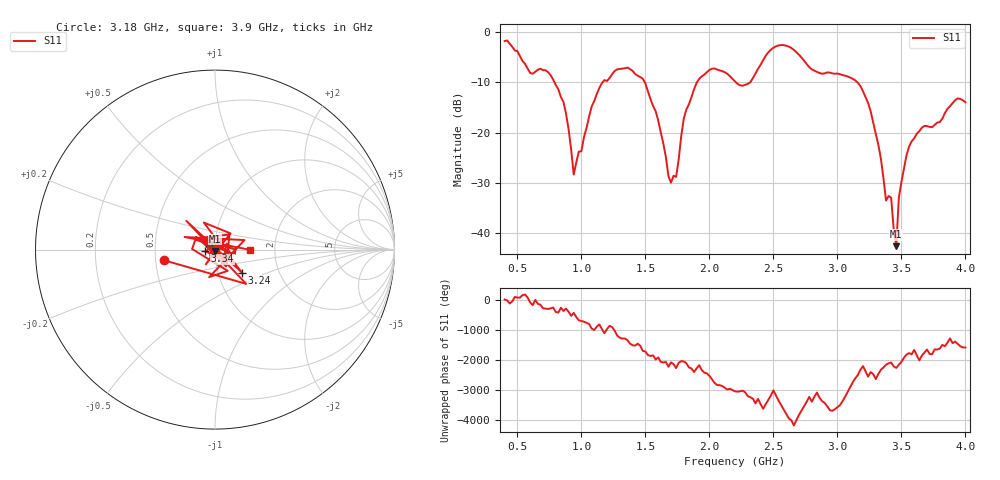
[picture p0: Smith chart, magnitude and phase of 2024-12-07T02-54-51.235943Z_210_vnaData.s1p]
!Created with skrf (http://scikit-rf.org).
# Hz S RI R 50.0
!freq ReS11 ImS11
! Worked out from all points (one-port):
!   181 points, 400 MHz to 4 GHz, reference 50 ohm
!   lowest |S11| = -42.6 dB at 3.46 GHz (marker M1), VSWR 1.01, Z = 49.8 - j0.707 ohm
!   |S11| at or under -10 dB: 790 MHz to 1.165 GHz (375.1 MHz wide, 38.4 % of centre); 1.496 GHz to 1.902 GHz (406.6 MHz wide, 23.9 % of centre); 3.157 GHz to end of sweep (the widest 3 of 4)
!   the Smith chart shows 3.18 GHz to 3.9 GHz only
!   S11 on the Smith chart (normalised r, x): 3.18 GHz: 0.55, -0.07; 3.24 GHz: 1.30, -0.35; 3.34 GHz: 0.90, -0.02; 3.9 GHz: 1.49, -0.00
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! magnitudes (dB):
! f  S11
! 400 MHz  -1.8
! 600 MHz  -8.1
! 740 MHz  -8.0
! 860 MHz  -13.9
! 940 MHz  -28.4
! 1.14 GHz  -11.1
! 1.3 GHz  -7.3
! 1.5 GHz  -10.2
! 1.6 GHz  -17.6
! 1.7 GHz  -30.0
! 1.76 GHz  -25.3
! 1.8 GHz  -17.2
! 1.92 GHz  -9.3
! 2.2 GHz  -9.8
! 2.32 GHz  -9.9
! 2.52 GHz  -2.8
! 2.66 GHz  -3.5
! 3.1 GHz  -9.0
! 3.18 GHz  -10.7
! 3.24 GHz  -14.1
! 3.34 GHz  -25.2
! 3.38 GHz  -33.5
! 3.42 GHz  -32.9
! 3.46 GHz  -42.6
! 3.48 GHz  -33.0
! 3.56 GHz  -22.8
! 3.9 GHz  -14.1
! 4 GHz  -14.0
